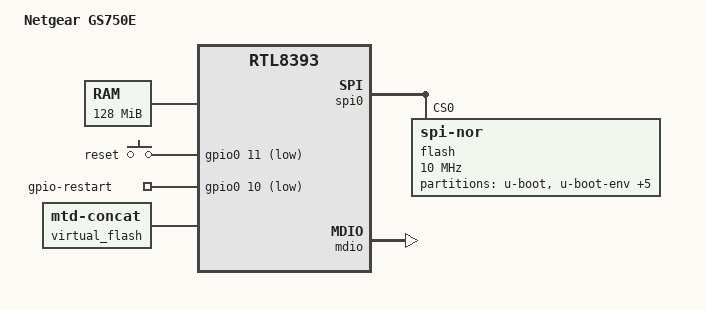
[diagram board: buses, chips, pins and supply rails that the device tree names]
// SPDX-License-Identifier: GPL-2.0-or-later OR MIT

#include "rtl839x.dtsi"

#include <dt-bindings/input/input.h>
#include <dt-bindings/gpio/gpio.h>

/ {
	compatible = "netgear,gs750e", "realtek,rtl8393-soc";
	model = "Netgear GS750E";

	aliases {
		label-mac-device = &ethernet0;
	};

	memory@0 {
		device_type = "memory";
		reg = <0x0 0x8000000>;
	};

	keys {
		compatible = "gpio-keys";

		reset {
			label = "reset";
			gpios = <&gpio0 11 GPIO_ACTIVE_LOW>;
			linux,code = <KEY_RESTART>;
		};
	};

	gpio-restart {
		compatible = "gpio-restart";
		gpios = <&gpio0 10 GPIO_ACTIVE_LOW>;
	};

	virtual_flash {
		compatible = "mtd-concat";

		devices = <&fwconcat0>, <&fwconcat1>, <&fwconcat2>;

		partitions {
			compatible = "fixed-partitions";
			#address-cells = <1>;
			#size-cells = <1>;

			partition@0 {
				label = "linux";
				reg = <0x0 0x740000>;
				compatible = "openwrt,uimage", "denx,uimage";
				openwrt,ih-magic = <0x174e4741>;
			};
		};
	};
};

&spi0 {
	status = "okay";

	flash@0 {
		compatible = "jedec,spi-nor";
		reg = <0>;
		spi-max-frequency = <10000000>;

		partitions {
			compatible = "fixed-partitions";
			#address-cells = <1>;
			#size-cells = <1>;

			partition@0 {
				label = "u-boot";
				reg = <0x0 0x80000>;
			};

			partition@80000 {
				label = "u-boot-env";
				reg = <0x80000 0x10000>;
			};

			partition@90000 {
				label = "u-boot-env2";
				reg = <0x90000 0x10000>;
				read-only;
			};

			fwconcat1: partition@a0000 {
				label = "jffs2_cfg";
				reg = <0xa0000 0x80000>;
			};

			fwconcat2: partition@120000 {
				label = "jffs2_log";
				reg = <0x120000 0x80000>;
			};

			fwconcat0: partition@1a0000 {
				label = "runtime";
				reg = <0x1a0000 0x640000>;
			};

			partition@7e0000 {
				label = "nvram";
				reg = <0x7e0000 0x020000>;
			};
		};
	};
};

&ethernet0 {
	mdio: mdio-bus {
		compatible = "realtek,rtl838x-mdio";
		#address-cells = <1>;
		#size-cells = <0>;
		// Switch doesn't come back properly after a reset so don't.
		// reset-gpios = <&gpio0 23 GPIO_ACTIVE_LOW>;

		/* External phy RTL8218B #1 */
		PHY_C22(0)
		PHY_C22(1)
		PHY_C22(2)
		PHY_C22(3)
		PHY_C22(4)
		PHY_C22(5)
		PHY_C22(6)
		PHY_C22(7)

		/* External phy RTL8218B #2 */
		PHY_C22(8)
		PHY_C22(9)
		PHY_C22(10)
		PHY_C22(11)
		PHY_C22(12)
		PHY_C22(13)
		PHY_C22(14)
		PHY_C22(15)

		/* External phy RTL8218B #3 */
		PHY_C22(16)
		PHY_C22(17)
		PHY_C22(18)
		PHY_C22(19)
		PHY_C22(20)
		PHY_C22(21)
		PHY_C22(22)
		PHY_C22(23)

		/* External phy RTL8218B #4 */
		PHY_C22(24)
		PHY_C22(25)
		PHY_C22(26)
		PHY_C22(27)
		PHY_C22(28)
		PHY_C22(29)
		PHY_C22(30)
		PHY_C22(31)

		/* External phy RTL8218B #5 */
		PHY_C22(32)
		PHY_C22(33)
		PHY_C22(34)
		PHY_C22(35)
		PHY_C22(36)
		PHY_C22(37)
		PHY_C22(38)
		PHY_C22(39)

		/* External phy RTL8218B #6 */
		PHY_C22(40)
		PHY_C22(41)
		PHY_C22(42)
		PHY_C22(43)
		PHY_C22(44)
		PHY_C22(45)
		PHY_C22(46)
		PHY_C22(47)

	};
};

&switch0 {
	ethernet-ports {
		#address-cells = <1>;
		#size-cells = <0>;

		SWITCH_PORT_SDS(0, 01, 0, qsgmii)
		SWITCH_PORT_SDS(1, 02, 0, qsgmii)
		SWITCH_PORT_SDS(2, 03, 0, qsgmii)
		SWITCH_PORT_SDS(3, 04, 0, qsgmii)
		SWITCH_PORT_SDS(4, 05, 1, qsgmii)
		SWITCH_PORT_SDS(5, 06, 1, qsgmii)
		SWITCH_PORT_SDS(6, 07, 1, qsgmii)
		SWITCH_PORT_SDS(7, 08, 1, qsgmii)

		SWITCH_PORT_SDS(8, 09, 2, qsgmii)
		SWITCH_PORT_SDS(9, 10, 2, qsgmii)
		SWITCH_PORT_SDS(10, 11, 2, qsgmii)
		SWITCH_PORT_SDS(11, 12, 2, qsgmii)
		SWITCH_PORT_SDS(12, 13, 3, qsgmii)
		SWITCH_PORT_SDS(13, 14, 3, qsgmii)
		SWITCH_PORT_SDS(14, 15, 3, qsgmii)
		SWITCH_PORT_SDS(15, 16, 3, qsgmii)

		SWITCH_PORT_SDS(16, 17, 4, qsgmii)
		SWITCH_PORT_SDS(17, 18, 4, qsgmii)
		SWITCH_PORT_SDS(18, 19, 4, qsgmii)
		SWITCH_PORT_SDS(19, 20, 4, qsgmii)
		SWITCH_PORT_SDS(20, 21, 5, qsgmii)
		SWITCH_PORT_SDS(21, 22, 5, qsgmii)
		SWITCH_PORT_SDS(22, 23, 5, qsgmii)
		SWITCH_PORT_SDS(23, 24, 5, qsgmii)

		SWITCH_PORT_SDS(24, 25, 6, qsgmii)
		SWITCH_PORT_SDS(25, 26, 6, qsgmii)
		SWITCH_PORT_SDS(26, 27, 6, qsgmii)
		SWITCH_PORT_SDS(27, 28, 6, qsgmii)
		SWITCH_PORT_SDS(28, 29, 7, qsgmii)
		SWITCH_PORT_SDS(29, 30, 7, qsgmii)
		SWITCH_PORT_SDS(30, 31, 7, qsgmii)
		SWITCH_PORT_SDS(31, 32, 7, qsgmii)

		SWITCH_PORT_SDS(32, 33, 8, qsgmii)
		SWITCH_PORT_SDS(33, 34, 8, qsgmii)
		SWITCH_PORT_SDS(34, 35, 8, qsgmii)
		SWITCH_PORT_SDS(35, 36, 8, qsgmii)
		SWITCH_PORT_SDS(36, 37, 9, qsgmii)
		SWITCH_PORT_SDS(37, 38, 9, qsgmii)
		SWITCH_PORT_SDS(38, 39, 9, qsgmii)
		SWITCH_PORT_SDS(39, 40, 9, qsgmii)

		SWITCH_PORT_SDS(40, 41, 10, qsgmii)
		SWITCH_PORT_SDS(41, 42, 10, qsgmii)
		SWITCH_PORT_SDS(42, 43, 10, qsgmii)
		SWITCH_PORT_SDS(43, 44, 10, qsgmii)
		SWITCH_PORT_SDS(44, 45, 11, qsgmii)
		SWITCH_PORT_SDS(45, 46, 11, qsgmii)
		SWITCH_PORT_SDS(46, 47, 11, qsgmii)
		SWITCH_PORT_SDS(47, 48, 11, qsgmii)

		port@48 {
			reg = <48>;
			label = "lan49";
			pcs-handle = <&serdes12>;
			phy-mode = "1000base-x";
			managed = "in-band-status";
			/* i2c and gpio not yet identified */
		};
		port@49 {
			reg = <49>;
			label = "lan50";
			pcs-handle = <&serdes13>;
			phy-mode = "1000base-x";
			managed = "in-band-status";
			/* i2c and gpio not yet identified */
		};

		/* CPU-Port */
		port@52 {
			ethernet = <&ethernet0>;
			reg = <52>;
			phy-mode = "internal";
			fixed-link {
				speed = <1000>;
				full-duplex;
			};
		};
	};
};
